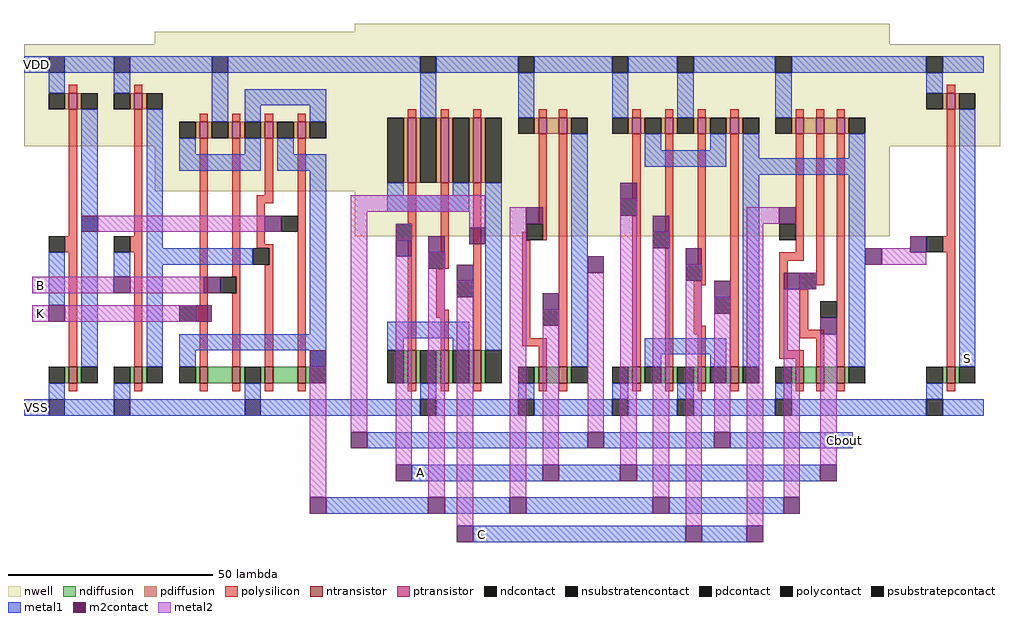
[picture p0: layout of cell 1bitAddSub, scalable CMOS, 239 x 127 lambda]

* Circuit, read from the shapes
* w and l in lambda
.subckt 1bitAddSub A B C Cbout K S VDD VSS
M1 XOR2_0/INV_1/Y K VSS VSS nfet w=4 l=2
M2 XOR2_0/INV_0/Y B VSS VSS nfet w=4 l=2
M3 n1 K FullAddr_0/B VSS nfet w=4 l=2
M4 VSS B n1 VSS nfet w=4 l=2
M5 n2 XOR2_0/INV_0/Y VSS VSS nfet w=4 l=2
M6 FullAddr_0/B XOR2_0/INV_1/Y n2 VSS nfet w=4 l=2
M7 VSS A n3 VSS nfet w=8 l=2
M8 n3 FullAddr_0/B VSS VSS nfet w=8 l=2
M9 Cbout C n3 VSS nfet w=8 l=2
M10 n4 FullAddr_0/B VSS VSS nfet w=4 l=2
M11 Cbout A n4 VSS nfet w=4 l=2
M12 n5 A VSS VSS nfet w=4 l=2
M13 VSS FullAddr_0/B n5 VSS nfet w=4 l=2
M14 n5 C VSS VSS nfet w=4 l=2
M15 INV_0/A Cbout n5 VSS nfet w=4 l=2
M16 n6 C VSS VSS nfet w=4 l=2
M17 n7 FullAddr_0/B n6 VSS nfet w=4 l=2
M18 INV_0/A A n7 VSS nfet w=4 l=2
M19 S INV_0/A VSS VSS nfet w=4 l=2
M20 XOR2_0/INV_1/Y K VDD VDD pfet w=4 l=2
M21 XOR2_0/INV_0/Y B VDD VDD pfet w=4 l=2
M22 VDD K n8 VDD pfet w=4 l=2
M23 n8 B VDD VDD pfet w=4 l=2
M24 FullAddr_0/B XOR2_0/INV_0/Y n8 VDD pfet w=4 l=2
M25 n8 XOR2_0/INV_1/Y FullAddr_0/B VDD pfet w=4 l=2
M26 VDD A n9 VDD pfet w=16 l=2
M27 n9 FullAddr_0/B VDD VDD pfet w=16 l=2
M28 Cbout C n9 VDD pfet w=16 l=2
M29 n10 FullAddr_0/B VDD VDD pfet w=4 l=2
M30 Cbout A n10 VDD pfet w=4 l=2
M31 n11 A VDD VDD pfet w=4 l=2
M32 VDD FullAddr_0/B n11 VDD pfet w=4 l=2
M33 n11 C VDD VDD pfet w=4 l=2
M34 INV_0/A Cbout n11 VDD pfet w=4 l=2
M35 n12 C VDD VDD pfet w=4 l=2
M36 n13 FullAddr_0/B n12 VDD pfet w=4 l=2
M37 INV_0/A A n13 VDD pfet w=4 l=2
M38 S INV_0/A VDD VDD pfet w=4 l=2
.ends

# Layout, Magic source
magic
tech scmos
<< nwell >>
rect -1 92 6 131
rect 131 103 138 128
<< metal1 >>
rect -80 121 7 125
rect 128 121 139 125
rect 149 49 153 53
rect -80 37 7 41
rect 128 37 139 41
rect 4 29 8 33
rect 119 29 123 33
rect 15 21 19 25
rect -6 13 19 17
rect 30 6 34 10
<< m2contact >>
rect 137 77 141 81
rect -10 49 -6 53
rect -10 13 -6 17
<< metal2 >>
rect 137 74 141 77
rect -78 67 -58 71
rect -78 60 -74 64
rect -10 17 -6 49
use FullAddr  FullAddr_0
transform 1 0 7 0 1 37
box -7 -31 130 96
use INV  INV_0
transform 1 0 139 0 1 37
box -4 0 20 91
use XOR2  XOR2_0
transform 1 0 -44 0 1 37
box -36 0 44 94
<< labels >>
rlabel metal1 151 51 151 51 1 S
rlabel metal1 -77 39 -77 39 1 VSS
rlabel metal1 -77 123 -77 123 1 VDD
rlabel metal1 17 23 17 23 1 A
rlabel metal1 32 8 32 8 1 C
rlabel metal2 -76 62 -76 62 3 K
rlabel metal2 -76 69 -76 69 3 B
rlabel metal1 121 31 121 31 1 Cbout
<< end >>

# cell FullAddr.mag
magic
tech scmos
<< nwell >>
rect -6 44 125 96
<< ntransistor >>
rect 7 8 9 16
rect 15 8 17 16
rect 23 8 25 16
rect 39 8 41 12
rect 44 8 46 12
rect 62 8 64 12
rect 70 8 72 12
rect 78 8 80 12
rect 86 8 88 12
rect 102 8 104 12
rect 107 8 109 12
rect 112 8 114 12
<< ptransistor >>
rect 7 57 9 73
rect 15 57 17 73
rect 23 57 25 73
rect 39 69 41 73
rect 44 69 46 73
rect 62 69 64 73
rect 70 69 72 73
rect 78 69 80 73
rect 86 69 88 73
rect 102 69 104 73
rect 107 69 109 73
rect 112 69 114 73
<< ndiffusion >>
rect 6 8 7 16
rect 9 8 10 16
rect 14 8 15 16
rect 17 8 18 16
rect 22 8 23 16
rect 25 8 26 16
rect 38 8 39 12
rect 41 8 44 12
rect 46 8 47 12
rect 61 8 62 12
rect 64 8 65 12
rect 69 8 70 12
rect 72 8 73 12
rect 77 8 78 12
rect 80 8 81 12
rect 85 8 86 12
rect 88 8 89 12
rect 101 8 102 12
rect 104 8 107 12
rect 109 8 112 12
rect 114 8 115 12
<< pdiffusion >>
rect 6 57 7 73
rect 9 57 10 73
rect 14 57 15 73
rect 17 57 18 73
rect 22 57 23 73
rect 25 57 26 73
rect 38 69 39 73
rect 41 69 44 73
rect 46 69 47 73
rect 61 69 62 73
rect 64 69 65 73
rect 69 69 70 73
rect 72 69 73 73
rect 77 69 78 73
rect 80 69 81 73
rect 85 69 86 73
rect 88 69 89 73
rect 101 69 102 73
rect 104 69 107 73
rect 109 69 112 73
rect 114 69 115 73
<< ndcontact >>
rect 2 8 6 16
rect 10 8 14 16
rect 18 8 22 16
rect 26 8 30 16
rect 34 8 38 12
rect 47 8 51 12
rect 57 8 61 12
rect 65 8 69 12
rect 73 8 77 12
rect 81 8 85 12
rect 89 8 93 12
rect 97 8 101 12
rect 115 8 119 12
<< pdcontact >>
rect 2 57 6 73
rect 10 57 14 73
rect 18 57 22 73
rect 26 57 30 73
rect 34 69 38 73
rect 47 69 51 73
rect 57 69 61 73
rect 65 69 69 73
rect 73 69 77 73
rect 81 69 85 73
rect 89 69 93 73
rect 97 69 101 73
rect 115 69 119 73
<< psubstratepcontact >>
rect 10 0 14 4
rect 34 0 38 4
rect 57 0 61 4
rect 73 0 77 4
rect 97 0 101 4
<< nsubstratencontact >>
rect 10 84 14 88
rect 34 84 38 88
rect 57 84 61 88
rect 73 84 77 88
rect 97 84 101 88
<< polysilicon >>
rect 7 73 9 75
rect 15 73 17 75
rect 23 73 25 75
rect 39 73 41 75
rect 44 73 46 75
rect 62 73 64 75
rect 70 73 72 75
rect 78 73 80 75
rect 86 73 88 75
rect 102 73 104 75
rect 107 73 109 75
rect 112 73 114 75
rect 7 47 9 57
rect 8 43 9 47
rect 7 16 9 43
rect 15 40 17 57
rect 16 36 17 40
rect 14 26 16 36
rect 14 24 17 26
rect 15 16 17 24
rect 23 16 25 57
rect 39 47 41 69
rect 35 43 36 45
rect 40 43 41 47
rect 35 19 37 43
rect 35 17 41 19
rect 39 12 41 17
rect 44 12 46 69
rect 62 53 64 69
rect 63 49 64 53
rect 62 12 64 49
rect 70 45 72 69
rect 71 41 72 45
rect 70 12 72 41
rect 78 37 80 69
rect 79 33 80 37
rect 77 32 80 33
rect 77 22 79 32
rect 77 20 80 22
rect 78 12 80 20
rect 86 12 88 69
rect 102 40 104 69
rect 98 38 104 40
rect 98 16 100 38
rect 107 32 109 69
rect 103 21 105 31
rect 103 19 109 21
rect 98 14 104 16
rect 102 12 104 14
rect 107 12 109 19
rect 112 12 114 69
rect 7 6 9 8
rect 15 6 17 8
rect 23 6 25 8
rect 39 6 41 8
rect 44 6 46 8
rect 62 6 64 8
rect 70 6 72 8
rect 78 6 80 8
rect 86 6 88 8
rect 102 6 104 8
rect 107 6 109 8
rect 112 6 114 8
<< polycontact >>
rect 4 43 8 47
rect 12 36 16 40
rect 19 29 23 33
rect 36 43 40 47
rect 40 22 44 26
rect 59 49 63 53
rect 67 41 71 45
rect 75 33 79 37
rect 82 25 86 29
rect 98 43 102 47
rect 103 31 107 35
rect 108 24 112 28
<< metal1 >>
rect 0 84 10 88
rect 14 84 34 88
rect 38 84 57 88
rect 61 84 73 88
rect 77 84 97 88
rect 101 84 121 88
rect 10 73 14 84
rect 34 73 38 84
rect 57 73 61 84
rect 73 73 77 84
rect 97 73 101 84
rect 2 54 6 57
rect 18 54 22 57
rect 2 50 22 54
rect 2 19 22 23
rect 2 16 6 19
rect 18 16 22 19
rect 26 16 30 57
rect 47 12 51 69
rect 65 65 69 69
rect 81 65 85 69
rect 65 61 85 65
rect 89 63 93 69
rect 115 63 119 69
rect 89 59 119 63
rect 65 15 85 19
rect 65 12 69 15
rect 81 12 85 15
rect 89 12 93 59
rect 115 12 119 59
rect 10 4 14 8
rect 34 4 38 8
rect 57 4 61 8
rect 73 4 77 8
rect 97 4 101 8
rect 0 0 10 4
rect 14 0 34 4
rect 38 0 57 4
rect 61 0 73 4
rect 77 0 97 4
rect 101 0 121 4
rect -3 -8 51 -4
rect 55 -8 82 -4
rect 86 -8 116 -4
rect 8 -16 40 -12
rect 44 -16 59 -12
rect 63 -16 108 -12
rect 16 -24 32 -20
rect 36 -24 67 -20
rect 71 -24 99 -20
rect 23 -31 75 -27
rect 79 -31 90 -27
<< m2contact >>
rect 4 39 8 43
rect 12 40 16 44
rect 22 42 26 46
rect 19 33 23 37
rect 36 47 40 51
rect 40 26 44 30
rect 59 53 63 57
rect 67 45 71 49
rect 51 35 55 39
rect 75 37 79 41
rect 82 29 86 33
rect 98 47 102 51
rect 99 31 103 35
rect 108 20 112 24
rect 119 37 123 41
rect -7 -8 -3 -4
rect 51 -8 55 -4
rect 82 -8 86 -4
rect 4 -16 8 -12
rect 40 -16 44 -12
rect 59 -16 63 -12
rect 108 -16 112 -12
rect 12 -24 16 -20
rect 32 -24 36 -20
rect 67 -24 71 -20
rect 99 -24 103 -20
rect 19 -31 23 -27
rect 75 -31 79 -27
rect 90 -31 94 -27
<< metal2 >>
rect -7 50 26 54
rect -7 -4 -3 50
rect 4 43 8 47
rect 22 46 26 50
rect 4 -12 8 39
rect 12 -20 16 40
rect 19 -27 23 33
rect 32 -20 36 51
rect 40 -12 44 26
rect 51 -4 55 35
rect 59 -12 63 53
rect 67 -20 71 45
rect 90 47 98 51
rect 75 -27 79 37
rect 82 -4 86 29
rect 90 -27 94 47
rect 123 37 130 41
rect 103 31 107 35
rect 99 -20 103 31
rect 108 -12 112 20
<< labels >>
rlabel psubstratepcontact 12 2 12 2 1 VSS
rlabel metal1 83 -14 83 -14 1 A
rlabel metal1 52 -22 52 -22 1 B
rlabel metal1 52 -29 52 -29 1 C
rlabel metal2 128 39 128 39 1 Sb
rlabel nsubstratencontact 12 86 12 86 1 VDD
rlabel metal1 -1 -6 -1 -6 1 Cbout
<< end >>

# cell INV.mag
magic
tech scmos
<< nwell >>
rect -4 66 20 91
<< ntransistor >>
rect 7 8 9 12
<< ptransistor >>
rect 7 75 9 79
<< ndiffusion >>
rect 6 8 7 12
rect 9 8 10 12
<< pdiffusion >>
rect 6 75 7 79
rect 9 75 10 79
<< ndcontact >>
rect 2 8 6 12
rect 10 8 14 12
<< pdcontact >>
rect 2 75 6 79
rect 10 75 14 79
<< psubstratepcontact >>
rect 2 0 6 4
<< nsubstratencontact >>
rect 2 84 6 88
<< polysilicon >>
rect 7 79 9 81
rect 7 44 9 75
rect 6 40 9 44
rect 7 12 9 40
rect 7 6 9 8
<< polycontact >>
rect 2 40 6 44
<< metal1 >>
rect 0 84 2 88
rect 6 84 16 88
rect 2 79 6 84
rect 10 12 14 75
rect 2 4 6 8
rect 0 0 2 4
rect 6 0 16 4
<< labels >>
rlabel metal1 1 2 1 2 2 VSS
rlabel metal1 12 17 12 17 1 Y
rlabel metal1 1 86 1 86 4 VDD
rlabel polycontact 4 42 4 42 1 A
<< end >>

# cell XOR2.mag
magic
tech scmos
<< nwell >>
rect -4 55 44 94
<< ntransistor >>
rect 7 8 9 12
rect 15 8 17 12
rect 23 8 25 12
rect 31 8 33 12
<< ptransistor >>
rect 7 68 9 72
rect 15 68 17 72
rect 23 68 25 72
rect 31 68 33 72
<< ndiffusion >>
rect 6 8 7 12
rect 9 8 15 12
rect 17 8 18 12
rect 22 8 23 12
rect 25 8 31 12
rect 33 8 34 12
<< pdiffusion >>
rect 6 68 7 72
rect 9 68 10 72
rect 14 68 15 72
rect 17 68 18 72
rect 22 68 23 72
rect 25 68 26 72
rect 30 68 31 72
rect 33 68 34 72
<< ndcontact >>
rect 2 8 6 12
rect 18 8 22 12
rect 34 8 38 12
<< pdcontact >>
rect 2 68 6 72
rect 10 68 14 72
rect 18 68 22 72
rect 26 68 30 72
rect 34 68 38 72
<< psubstratepcontact >>
rect 18 0 22 4
<< nsubstratencontact >>
rect 10 84 14 88
<< polysilicon >>
rect 7 72 9 74
rect 15 72 17 74
rect 23 72 25 74
rect 31 72 33 74
rect 7 27 9 68
rect 15 34 17 68
rect 23 54 25 68
rect 21 52 25 54
rect 21 42 23 52
rect 21 41 25 42
rect 24 37 25 41
rect 16 30 17 34
rect 6 23 9 27
rect 7 12 9 23
rect 15 12 17 30
rect 23 12 25 37
rect 31 12 33 68
rect 7 6 9 8
rect 15 6 17 8
rect 23 6 25 8
rect 31 6 33 8
<< polycontact >>
rect 27 45 31 49
rect 20 37 24 41
rect 12 30 16 34
rect 2 23 6 27
<< metal1 >>
rect 0 84 10 88
rect 14 84 40 88
rect 10 72 14 84
rect 18 76 38 80
rect 18 72 22 76
rect 34 72 38 76
rect 2 64 6 68
rect 18 64 22 68
rect 2 60 22 64
rect 26 64 30 68
rect 26 60 38 64
rect -30 27 -26 40
rect -14 34 -10 40
rect -2 37 20 41
rect 34 20 38 60
rect 2 16 38 20
rect 2 12 6 16
rect 34 12 38 16
rect 18 4 22 8
rect 0 0 18 4
rect 22 0 40 4
<< m2contact >>
rect -22 45 -18 49
rect 23 45 27 49
rect -14 30 -10 34
rect 8 30 12 34
rect -30 23 -26 27
rect 6 23 10 27
<< metal2 >>
rect -18 45 23 49
rect -10 30 8 34
rect -26 23 6 27
use INV  INV_0
transform 1 0 -16 0 1 0
box -4 0 20 91
use INV  INV_1
transform 1 0 -32 0 1 0
box -4 0 20 91
<< labels >>
rlabel psubstratepcontact 20 2 20 2 1 VSS
rlabel metal1 36 40 36 40 1 Y
rlabel metal1 12 86 12 86 1 VDD
rlabel m2contact -12 32 -12 32 1 B
rlabel m2contact -28 25 -28 25 1 A
<< end >>
